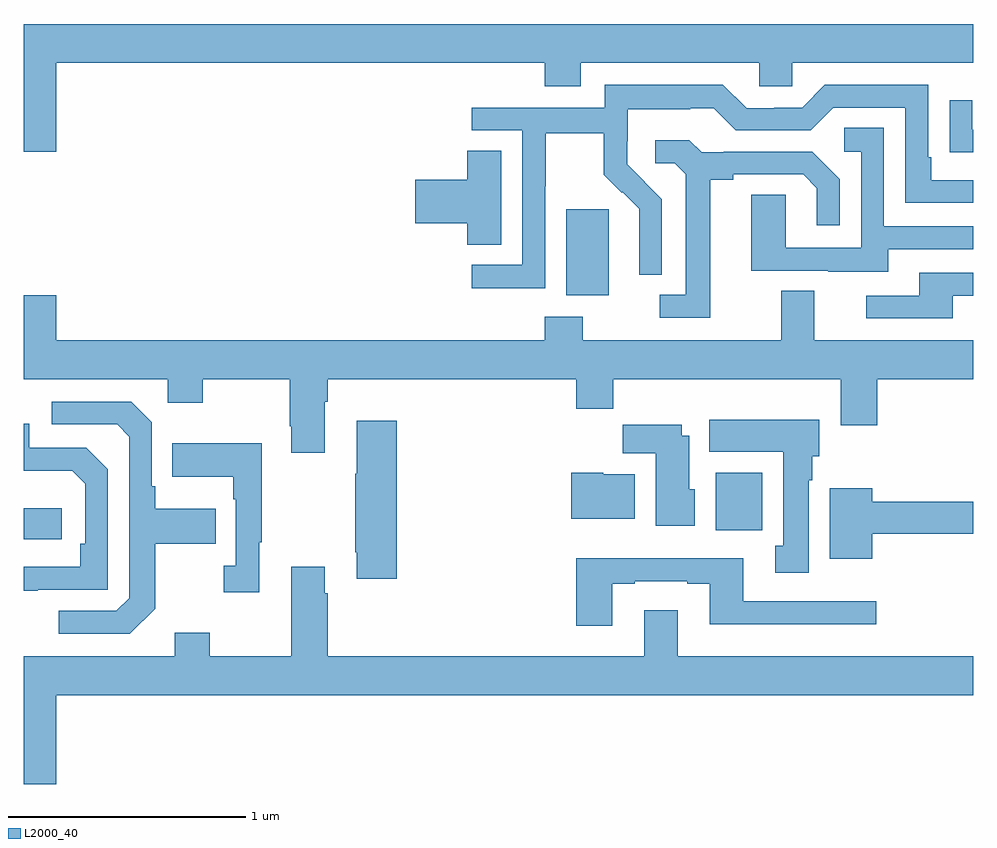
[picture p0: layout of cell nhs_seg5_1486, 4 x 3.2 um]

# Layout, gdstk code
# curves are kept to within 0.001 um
import gdstk
lib = gdstk.Library(unit=1e-6, precision=1e-09)
def R(c, l, rs):  # rectangles x0, y0, x1, y1
    for r in rs: c.add(gdstk.rectangle(r[:2], r[2:], *l))
def P(c, l, *ps):  # polygons
    for p in ps: c.add(gdstk.Polygon(p, *l))
L2000_40 = (2000, 40)

nhs_seg5_1486 = lib.new_cell('nhs_seg5_1486')
R(nhs_seg5_1486, L2000_40, [(201,856.086,201.16,856.216), (203.915,856.124,204.112,856.366), (203.285,857.114,203.464,857.475)])
P(nhs_seg5_1486, L2000_40, [(201.136,858.092),(203.195,858.092),(203.195,857.993),(203.347,857.993),(203.347,858.092),(204.099,858.092),(204.099,857.994),(204.237,857.994),(204.237,858.092),(205,858.092),(205,858.256),(201,858.256),(201,857.718),(201.136,857.718)],
  [(203.196,857.572),(203.199,857.572),(203.199,857.796),(203.443,857.796),(203.443,857.621),(203.52,857.544),(203.523,857.547),(203.594,857.477),(203.594,857.354),(203.592,857.354),(203.592,857.2),(203.688,857.2),(203.688,857.518),(203.542,857.666),(203.542,857.763),(203.544,857.763),(203.544,857.897),(203.807,857.897),(203.807,857.901),(203.907,857.901),(204,857.808),(204.315,857.808),(204.411,857.904),(204.714,857.904),(204.714,857.502),(205,857.502),(205,857.598),(204.823,857.598),(204.823,857.695),(204.81,857.695),(204.81,858),(204.375,858),(204.279,857.904),(204.161,857.904),(204.161,857.901),(204.045,857.901),(203.945,858.001),(203.448,858.001),(203.448,857.904),(202.887,857.904),(202.887,857.808),(203.1,857.808),(203.1,857.241),(202.887,857.241),(202.887,857.143),(203.196,857.143)],
  [(205,857.811),(204.997,857.811),(204.997,857.935),(204.901,857.935),(204.901,857.716),(205,857.716)],
  [(204.643,857.307),(205,857.307),(205,857.403),(204.624,857.403),(204.624,857.819),(204.456,857.819),(204.456,857.718),(204.528,857.718),(204.528,857.313),(204.21,857.313),(204.21,857.537),(204.065,857.537),(204.065,857.217),(204.389,857.217),(204.389,857.213),(204.643,857.213)],
  [(203.893,857.6),(203.989,857.6),(203.989,857.622),(204.284,857.622),(204.341,857.565),(204.341,857.409),(204.438,857.409),(204.438,857.602),(204.322,857.718),(203.95,857.718),(203.95,857.715),(203.856,857.715),(203.804,857.767),(203.661,857.767),(203.661,857.67),(203.742,857.67),(203.789,857.623),(203.789,857.115),(203.679,857.115),(203.679,857.019),(203.893,857.019)],
  [(203.011,857.723),(202.868,857.723),(202.868,857.6),(202.65,857.6),(202.65,857.417),(202.868,857.417),(202.868,857.326),(203.011,857.326)],
  [(204.913,857.112),(205,857.112),(205,857.208),(204.773,857.208),(204.773,857.112),(204.549,857.112),(204.549,857.016),(204.913,857.016)],
  [(204.191,857.132),(204.191,856.924),(203.355,856.924),(203.355,857.023),(203.195,857.023),(203.195,856.924),(201.136,856.924),(201.136,857.113),(201,857.113),(201,856.76),(201.606,856.76),(201.606,856.661),(201.753,856.661),(201.753,856.76),(202.12,856.76),(202.12,856.561),(202.127,856.561),(202.127,856.449),(202.267,856.449),(202.267,856.664),(202.28,856.664),(202.28,856.76),(203.327,856.76),(203.327,856.636),(203.483,856.636),(203.483,856.76),(204.443,856.76),(204.443,856.566),(204.596,856.566),(204.596,856.76),(205,856.76),(205,856.924),(204.331,856.924),(204.331,857.132)],
  [(201.553,855.793),(201.553,856.066),(201.809,856.066),(201.809,856.213),(201.553,856.213),(201.553,856.309),(201.54,856.309),(201.54,856.578),(201.453,856.665),(201.117,856.665),(201.117,856.569),(201.393,856.569),(201.444,856.518),(201.444,855.837),(201.39,855.783),(201.147,855.783),(201.147,855.687),(201.447,855.687)],
  [(204.307,856.334),(204.322,856.334),(204.322,856.434),(204.352,856.434),(204.352,856.588),(203.888,856.588),(203.888,856.454),(204.2,856.454),(204.2,856.058),(204.167,856.058),(204.167,855.945),(204.307,855.945)],
  [(202.571,856.585),(202.403,856.585),(202.403,856.361),(202.396,856.361),(202.396,856.03),(202.403,856.03),(202.403,855.918),(202.571,855.918)],
  [(201.059,855.873),(201.354,855.873),(201.354,856.38),(201.264,856.47),(201.024,856.47),(201.024,856.572),(201,856.572),(201,856.373),(201.205,856.373),(201.258,856.32),(201.258,856.066),(201.238,856.066),(201.238,855.969),(201,855.969),(201,855.868),(201.059,855.868)],
  [(203.827,856.296),(203.803,856.296),(203.803,856.522),(203.773,856.522),(203.773,856.567),(203.524,856.567),(203.524,856.448),(203.663,856.448),(203.663,856.142),(203.827,856.142)],
  [(201.991,856.073),(202.003,856.073),(202.003,856.489),(201.625,856.489),(201.625,856.349),(201.882,856.349),(201.882,856.253),(201.894,856.253),(201.894,855.974),(201.843,855.974),(201.843,855.861),(201.991,855.861)],
  [(203.575,856.36),(203.442,856.36),(203.442,856.366),(203.306,856.366),(203.306,856.172),(203.575,856.172)],
  [(204.574,856.108),(205,856.108),(205,856.244),(204.574,856.244),(204.574,856.3),(204.395,856.3),(204.395,856.004),(204.574,856.004)],
  [(203.479,855.897),(203.575,855.897),(203.575,855.909),(203.795,855.909),(203.795,855.897),(203.891,855.897),(203.891,855.728),(204.592,855.728),(204.592,855.825),(204.031,855.825),(204.031,856.006),(203.327,856.006),(203.327,855.72),(203.479,855.72)],
  [(201.136,855.428),(205,855.428),(205,855.592),(203.755,855.592),(203.755,855.787),(203.615,855.787),(203.615,855.592),(202.28,855.592),(202.28,855.857),(202.267,855.857),(202.267,855.97),(202.127,855.97),(202.127,855.592),(201.783,855.592),(201.783,855.691),(201.635,855.691),(201.635,855.592),(201,855.592),(201,855.054),(201.136,855.054)])

lib.write_gds('nhs_seg5_1486.gds')
